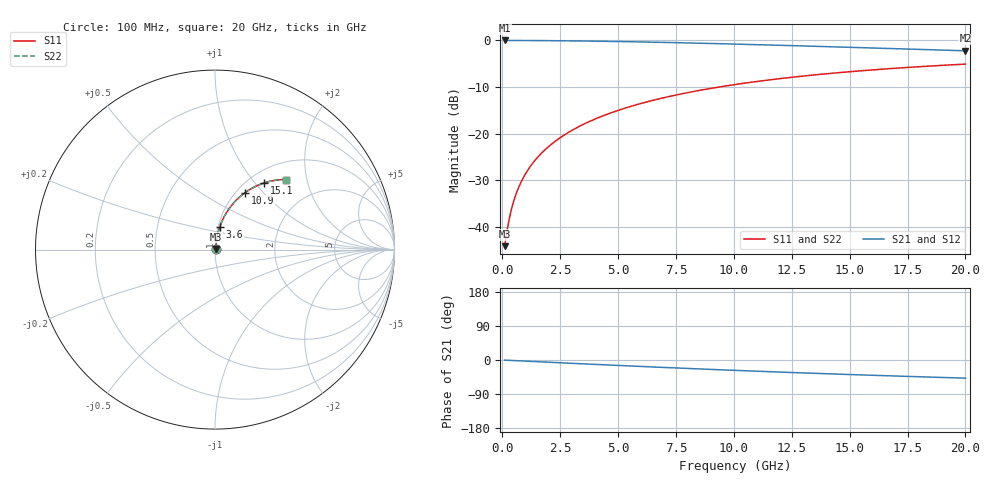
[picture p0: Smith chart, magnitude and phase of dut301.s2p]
! Touchstone file exported from HFSS 2024.1.0
!  File:  C:/UserFiles/LocalFiles/RDL_TSV_Batchsim/temp_RDL_bottom_301_1779610232.aedt
!  Generated:  04:13:11 PM May 24, 2026
!  Design:  RDL_bottom
!  Project:  temp_RDL_bottom_301_1779610232
!  Setup:  Setup1
!  Solution:  Sweep
! Variables:
!  dtsv = 10.80580581um
!  hbump = 3um
!  htsv = 63.64um
!  ldown = 592.14um
!  lrdl = 100um
!  p = 40
!  p1 = 58.51um
!  rhole = 1um
!  t = 450um
!  tdown = 4.1um
!  trdl = 3.915915916um
!  wdown = 10.31um
!  wrdl = 20um
# GHz S MA R 50.000000
! Terminal data exported
! Port[1] = RDL1_T1
! Port[2] = RDL1_T2
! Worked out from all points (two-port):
!   200 points, 100 MHz to 20 GHz, reference 50 ohm
!   highest |S21| = -0.04 dB at 100 MHz (marker M1); lowest = -2.3 dB at 20 GHz (marker M2)
!   |S21| within 3 dB of the highest: start of sweep to end of sweep
!   lowest |S11| = -44.2 dB at 100 MHz (marker M3), VSWR 1.01, Z = 50.5 + j0.372 ohm
!   |S11| at or under -10 dB: start of sweep to 9.395 GHz
!   |S22| runs from -44.2 to -5.1 dB; largest |S21 - S12| = 3e-15
!   S11 on the Smith chart (normalised r, x): 100 MHz: 1.01, +0.01; 3.6 GHz: 1.02, +0.26; 10.9 GHz: 1.10, +0.80; 15.1 GHz: 1.18, +1.12; 20 GHz: 1.33, +1.50
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0.1  0.006195 36.5  0.995 -0.3  0.995 -0.3  0.006195 36.5
! Gamma 0 0 0 0
! Port Impedance 50 0 50 0
0.2  0.008937 55.5  0.995 -0.6  0.995 -0.6  0.008937 55.5
0.3  0.01219 64.8  0.9948 -0.9  0.9948 -0.9  0.01219 64.8
0.4  0.01563 69.9  0.9947 -1.2  0.9947 -1.2  0.01563 69.9
0.5  0.01913 73.0  0.9945 -1.5  0.9945 -1.5  0.01913 73.0
0.6  0.02267 75.1  0.9944 -1.8  0.9944 -1.8  0.02267 75.1
0.8  0.02977 77.6  0.994 -2.4  0.994 -2.4  0.02978 77.6
1.1  0.04045 79.4  0.9933 -3.2  0.9933 -3.2  0.04046 79.4
1.5  0.0547 80.2  0.9921 -4.4  0.9921 -4.4  0.0547 80.2
2.1  0.07603 80.3  0.9897 -6.2  0.9897 -6.2  0.07604 80.3
2.7  0.09727 79.6  0.9867 -7.9  0.9867 -7.9  0.09728 79.6
3.5  0.1254 78.3  0.9817 -10.2  0.9817 -10.2  0.1254 78.3
3.6  0.1288 78.2  0.981 -10.5  0.981 -10.5  0.1288 78.2
5  0.177 75.3  0.9694 -14.4  0.9694 -14.4  0.177 75.3
6.8  0.2365 71.3  0.9508 -19.2  0.9508 -19.2  0.2365 71.3
8.3  0.2835 67.9  0.9329 -23.1  0.9329 -23.1  0.2835 67.9
10.1  0.3365 63.9  0.9093 -27.5  0.9093 -27.5  0.3365 63.9
10.9  0.3588 62.2  0.8984 -29.4  0.8984 -29.4  0.3588 62.2
13.4  0.423 56.9  0.8632 -35.0  0.8632 -35.0  0.423 56.9
15.1  0.4621 53.5  0.8388 -38.6  0.8388 -38.6  0.4621 53.5
16.7  0.4955 50.5  0.8161 -41.8  0.8161 -41.8  0.4955 50.5
20  0.5549 44.7  0.7708 -47.9  0.7708 -47.9  0.5548 44.7
